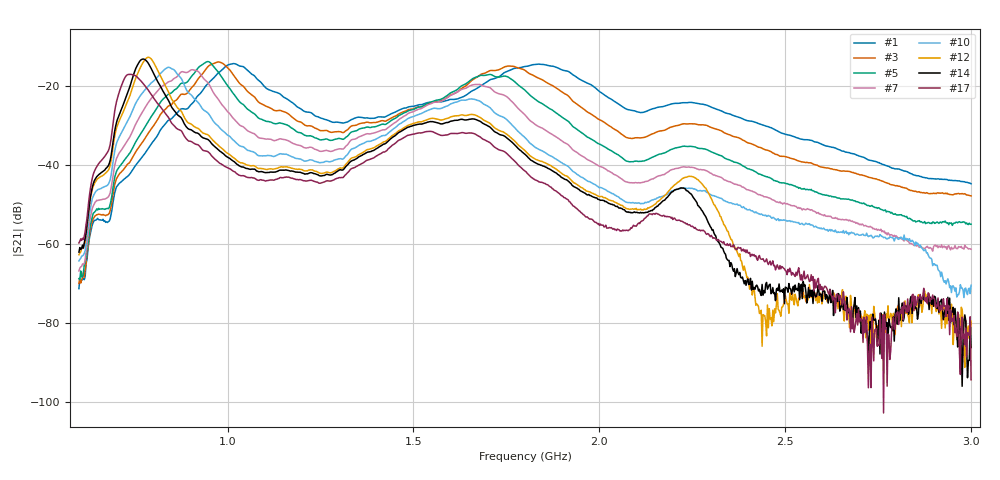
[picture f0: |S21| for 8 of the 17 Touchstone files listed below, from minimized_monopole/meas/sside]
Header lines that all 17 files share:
#  HZ  S  RI  R  50.00
! Rohde & Schwarz ZVB8 2Ports - Version 2.81 - 1145.1010k08 SN: 100113
! Measurements: S11 S21 S12 S22
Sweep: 600 MHz to 3 GHz
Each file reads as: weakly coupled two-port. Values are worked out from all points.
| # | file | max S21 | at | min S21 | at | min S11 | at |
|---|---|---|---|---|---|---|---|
| 1 | lasse_0_0_0_0.s2p | -14.26 dB | 1.016 GHz | -71.3 dB | 600 MHz | -25.1 dB | 1.008 GHz |
| 2 | lasse_2_0_0_0.s2p | -13.81 dB | 1.004 GHz | -71.9 dB | 612 MHz | -26.6 dB | 989.2 MHz |
| 3 | lasse_8_0_0_0.s2p | -13.84 dB | 974.8 MHz | -70.0 dB | 600 MHz | -18.2 dB | 933.9 MHz |
| 4 | lasse_a_0_0_0.s2p | -13.67 dB | 960.4 MHz | -70.5 dB | 604.8 MHz | -18.0 dB | 931.5 MHz |
| 5 | lasse_e_0_0_0.s2p | -13.75 dB | 945.9 MHz | -69.0 dB | 602.4 MHz | -14.2 dB | 866.7 MHz |
| 6 | lasse_f_5_0_0.s2p | -15.02 dB | 919.5 MHz | -67.2 dB | 600 MHz | -16.9 dB | 821 MHz |
| 7 | lasse_f_7_0_0.s2p | -15.82 dB | 905.1 MHz | -66.8 dB | 600 MHz | -19.4 dB | 811.4 MHz |
| 8 | lasse_f_b_0_0.s2p | -15.86 dB | 876.3 MHz | -65.7 dB | 600 MHz | -20.4 dB | 799.4 MHz |
| 9 | lasse_f_f_0_0.s2p | -16.33 dB | 857.1 MHz | -73.7 dB | 2.865 GHz | -24.3 dB | 775.4 MHz |
| 10 | lasse_f_f_4_0.s2p | -15.20 dB | 840.2 MHz | -73.5 dB | 2.981 GHz | -23.5 dB | 775.4 MHz |
| 11 | lasse_f_f_e_0.s2p | -12.81 dB | 799.4 MHz | -98.5 dB | 2.971 GHz | -20.8 dB | 777.8 MHz |
| 12 | lasse_f_f_f_1.s2p | -12.66 dB | 787.4 MHz | -91.2 dB | 2.983 GHz | -21.4 dB | 780.2 MHz |
| 13 | lasse_f_f_f_3.s2p | -12.74 dB | 782.6 MHz | -94.0 dB | 2.995 GHz | -22.6 dB | 780.2 MHz |
| 14 | lasse_f_f_f_5.s2p | -13.12 dB | 773 MHz | -96.0 dB | 2.976 GHz | -26.9 dB | 780.2 MHz |
| 15 | lasse_f_f_f_7.s2p | -13.69 dB | 763.4 MHz | -90.8 dB | 2.777 GHz | -30.9 dB | 780.2 MHz |
| 16 | lasse_f_f_f_b.s2p | -15.03 dB | 751.4 MHz | -96.8 dB | 2.995 GHz | -30.9 dB | 777.8 MHz |
| 17 | lasse_f_f_f_f.s2p | -16.99 dB | 739.3 MHz | -102.8 dB | 2.765 GHz | -34.2 dB | 777.8 MHz |
